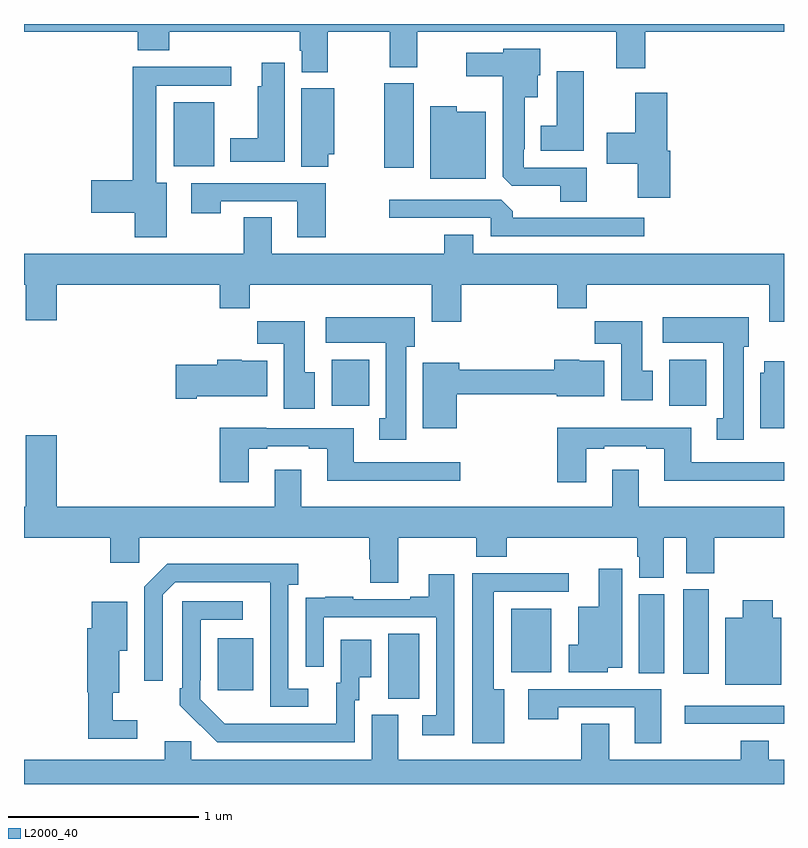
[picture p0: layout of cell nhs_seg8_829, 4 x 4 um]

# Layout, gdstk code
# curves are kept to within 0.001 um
import gdstk
lib = gdstk.Library(unit=1e-6, precision=1e-09)
def R(c, l, rs):  # rectangles x0, y0, x1, y1
    for r in rs: c.add(gdstk.rectangle(r[:2], r[2:], *l))
def P(c, l, *ps):  # polygons
    for p in ps: c.add(gdstk.Polygon(p, *l))
L2000_40 = (2000, 40)

nhs_seg8_829 = lib.new_cell('nhs_seg8_829')
R(nhs_seg8_829, L2000_40, [(168.477,1086.216,169,1086.312), (166.916,1086.349,167.08,1086.692), (166.019,1086.393,166.207,1086.667), (168.47,1086.48,168.604,1086.924), (168.236,1086.484,168.37,1086.9), (167.564,1086.488,167.776,1086.823), (166.619,1087.892,166.816,1088.134), (168.395,1087.892,168.592,1088.134), (166.895,1089.144,167.05,1089.588), (165.788,1089.152,166,1089.487)])
P(nhs_seg8_829, L2000_40, [(166.599,1089.86),(166.924,1089.86),(166.924,1089.673),(167.071,1089.673),(167.071,1089.86),(168.116,1089.86),(168.116,1089.666),(168.269,1089.666),(168.269,1089.86),(169,1089.86),(169,1089.9),(165,1089.9),(165,1089.86),(165.599,1089.86),(165.599,1089.761),(165.764,1089.761),(165.764,1089.86),(166.451,1089.86),(166.451,1089.759),(166.463,1089.759),(166.463,1089.647),(166.599,1089.647)],
  [(167.962,1089.144),(167.631,1089.144),(167.631,1089.241),(167.635,1089.241),(167.635,1089.515),(167.704,1089.515),(167.704,1089.63),(167.716,1089.63),(167.716,1089.769),(167.523,1089.769),(167.523,1089.748),(167.328,1089.748),(167.328,1089.626),(167.519,1089.626),(167.519,1089.097),(167.568,1089.048),(167.822,1089.048),(167.822,1088.965),(167.962,1088.965)],
  [(166.372,1089.697),(166.25,1089.697),(166.25,1089.573),(166.229,1089.573),(166.229,1089.298),(166.085,1089.298),(166.085,1089.176),(166.372,1089.176)],
  [(165.751,1089.064),(165.697,1089.064),(165.697,1089.576),(166.09,1089.576),(166.09,1089.674),(165.572,1089.674),(165.572,1089.077),(165.354,1089.077),(165.354,1088.906),(165.584,1088.906),(165.584,1088.778),(165.751,1088.778)],
  [(167.947,1089.652),(167.804,1089.652),(167.804,1089.364),(167.72,1089.364),(167.72,1089.233),(167.947,1089.233)],
  [(166.602,1089.215),(166.633,1089.215),(166.633,1089.562),(166.46,1089.562),(166.46,1089.148),(166.602,1089.148)],
  [(168.401,1089.233),(168.386,1089.233),(168.386,1089.538),(168.218,1089.538),(168.218,1089.327),(168.066,1089.327),(168.066,1089.164),(168.23,1089.164),(168.23,1088.985),(168.401,1088.985)],
  [(167.431,1089.439),(167.277,1089.439),(167.277,1089.466),(167.138,1089.466),(167.138,1089.086),(167.431,1089.086)],
  [(166.587,1089.063),(165.879,1089.063),(165.879,1088.904),(166.035,1088.904),(166.035,1088.967),(166.439,1088.967),(166.439,1088.778),(166.587,1088.778)],
  [(168.265,1088.88),(167.573,1088.88),(167.573,1088.914),(167.511,1088.976),(166.923,1088.976),(166.923,1088.88),(167.457,1088.88),(167.457,1088.784),(168.265,1088.784)],
  [(167.3,1088.528),(167.807,1088.528),(167.807,1088.404),(167.963,1088.404),(167.963,1088.528),(168.923,1088.528),(168.923,1088.334),(169,1088.334),(169,1088.692),(167.365,1088.692),(167.365,1088.791),(167.213,1088.791),(167.213,1088.692),(166.303,1088.692),(166.303,1088.882),(166.156,1088.882),(166.156,1088.692),(165,1088.692),(165,1088.528),(165.008,1088.528),(165.008,1088.34),(165.172,1088.34),(165.172,1088.528),(166.031,1088.528),(166.031,1088.404),(166.187,1088.404),(166.187,1088.528),(167.147,1088.528),(167.147,1088.334),(167.3,1088.334)],
  [(167.011,1088.202),(167.056,1088.202),(167.056,1088.356),(166.587,1088.356),(166.587,1088.222),(166.904,1088.222),(166.904,1087.826),(166.871,1087.826),(166.871,1087.713),(167.011,1087.713)],
  [(168.787,1088.202),(168.814,1088.202),(168.814,1088.356),(168.363,1088.356),(168.363,1088.222),(168.68,1088.222),(168.68,1087.826),(168.647,1087.826),(168.647,1087.713),(168.787,1087.713)],
  [(168.31,1088.076),(168.253,1088.076),(168.253,1088.335),(168.004,1088.335),(168.004,1088.216),(168.143,1088.216),(168.143,1087.92),(168.31,1087.92)],
  [(166.531,1088.068),(166.477,1088.068),(166.477,1088.335),(166.228,1088.335),(166.228,1088.216),(166.367,1088.216),(166.367,1087.875),(166.531,1087.875)],
  [(167.278,1087.951),(167.804,1087.951),(167.804,1087.94),(168.055,1087.94),(168.055,1088.128),(167.922,1088.128),(167.922,1088.134),(167.792,1088.134),(167.792,1088.08),(167.291,1088.08),(167.291,1088.116),(167.099,1088.116),(167.099,1087.772),(167.278,1087.772)],
  [(165.91,1087.94),(166.279,1087.94),(166.279,1088.128),(166.146,1088.128),(166.146,1088.134),(166.016,1088.134),(166.016,1088.106),(165.798,1088.106),(165.798,1087.928),(165.91,1087.928)],
  [(169,1088.125),(168.896,1088.125),(168.896,1088.064),(168.875,1088.064),(168.875,1087.772),(169,1087.772)],
  [(167.959,1087.665),(168.055,1087.665),(168.055,1087.677),(168.275,1087.677),(168.275,1087.665),(168.371,1087.665),(168.371,1087.496),(169,1087.496),(169,1087.593),(168.511,1087.593),(168.511,1087.774),(167.807,1087.774),(167.807,1087.488),(167.959,1087.488)],
  [(166.183,1087.665),(166.279,1087.665),(166.279,1087.677),(166.499,1087.677),(166.499,1087.665),(166.595,1087.665),(166.595,1087.496),(167.296,1087.496),(167.296,1087.593),(166.735,1087.593),(166.735,1087.773),(166.275,1087.773),(166.275,1087.774),(166.031,1087.774),(166.031,1087.488),(166.183,1087.488)],
  [(166.969,1087.196),(167.38,1087.196),(167.38,1087.097),(167.54,1087.097),(167.54,1087.196),(168.227,1087.196),(168.227,1087.095),(168.239,1087.095),(168.239,1086.985),(168.367,1086.985),(168.367,1087.196),(168.485,1087.196),(168.485,1087.009),(168.633,1087.009),(168.633,1087.196),(169,1087.196),(169,1087.36),(168.235,1087.36),(168.235,1087.555),(168.095,1087.555),(168.095,1087.36),(166.459,1087.36),(166.459,1087.555),(166.319,1087.555),(166.319,1087.36),(165.172,1087.36),(165.172,1087.735),(165.008,1087.735),(165.008,1087.36),(165,1087.36),(165,1087.196),(165.455,1087.196),(165.455,1087.065),(165.606,1087.065),(165.606,1087.196),(166.817,1087.196),(166.817,1087.083),(166.822,1087.083),(166.822,1086.958),(166.969,1086.958)],
  [(166.495,1086.402),(166.392,1086.402),(166.392,1086.95),(166.444,1086.95),(166.444,1087.06),(165.754,1087.06),(165.633,1086.939),(165.633,1086.444),(165.729,1086.444),(165.729,1086.897),(165.795,1086.963),(166.295,1086.963),(166.296,1086.306),(166.495,1086.306)],
  [(168.072,1086.512),(168.148,1086.512),(168.148,1087.033),(168.026,1087.033),(168.026,1086.832),(167.918,1086.832),(167.918,1086.634),(167.867,1086.634),(167.867,1086.488),(168.072,1086.488)],
  [(167.527,1086.4),(167.473,1086.4),(167.473,1086.912),(167.866,1086.912),(167.866,1087.01),(167.36,1087.01),(167.36,1086.114),(167.527,1086.114)],
  [(167.265,1087.003),(167.129,1087.003),(167.129,1086.886),(167.033,1086.886),(167.033,1086.873),(166.733,1086.873),(166.733,1086.886),(166.585,1086.886),(166.585,1086.879),(166.483,1086.879),(166.483,1086.77),(166.482,1086.77),(166.482,1086.516),(166.578,1086.516),(166.578,1086.777),(167.169,1086.777),(167.169,1086.261),(167.097,1086.261),(167.097,1086.156),(167.265,1086.156)],
  [(168.985,1086.775),(168.94,1086.775),(168.94,1086.868),(168.782,1086.868),(168.782,1086.775),(168.692,1086.775),(168.692,1086.422),(168.985,1086.422)],
  [(166.74,1086.342),(166.765,1086.342),(166.765,1086.461),(166.828,1086.461),(166.828,1086.658),(166.667,1086.658),(166.667,1086.432),(166.643,1086.432),(166.643,1086.216),(166.056,1086.217),(165.927,1086.345),(165.927,1086.445),(165.93,1086.445),(165.93,1086.765),(166.15,1086.765),(166.15,1086.861),(165.834,1086.861),(165.834,1086.403),(165.819,1086.403),(165.819,1086.315),(166.016,1086.12),(166.74,1086.12)],
  [(165.595,1086.235),(165.466,1086.235),(165.466,1086.38),(165.502,1086.38),(165.502,1086.602),(165.544,1086.602),(165.544,1086.859),(165.356,1086.859),(165.356,1086.72),(165.332,1086.72),(165.332,1086.384),(165.337,1086.384),(165.337,1086.138),(165.595,1086.138)],
  [(168.355,1086.399),(167.655,1086.399),(167.655,1086.24),(167.811,1086.24),(167.811,1086.303),(168.215,1086.303),(168.215,1086.114),(168.355,1086.114)],
  [(169,1086.028),(168.919,1086.028),(168.919,1086.127),(168.772,1086.127),(168.772,1086.028),(168.079,1086.028),(168.079,1086.218),(167.932,1086.218),(167.932,1086.028),(166.969,1086.028),(166.969,1086.264),(166.829,1086.264),(166.829,1086.028),(165.879,1086.028),(165.879,1086.126),(165.74,1086.126),(165.74,1086.028),(165,1086.028),(165,1085.9),(169,1085.9)])

lib.write_gds('nhs_seg8_829.gds')
